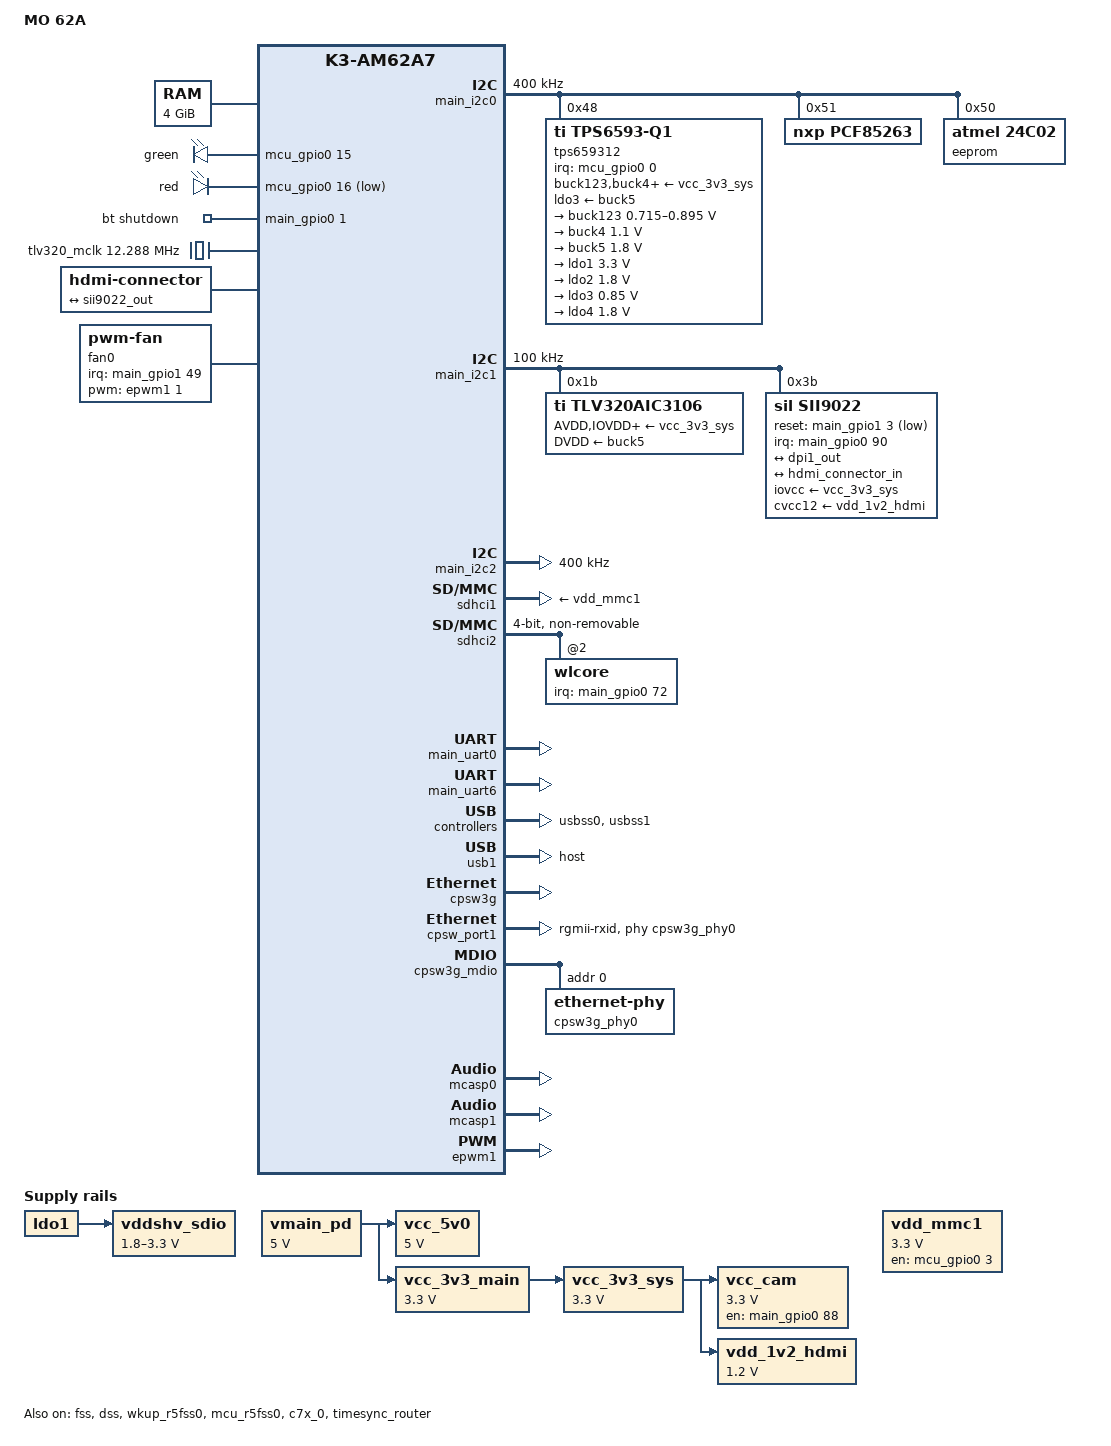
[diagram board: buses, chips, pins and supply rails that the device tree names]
// SPDX-License-Identifier: GPL-2.0-only OR MIT
/*
 * AM62A SK: https://www.ti.com/lit/zip/sprr459
 *
 * Copyright (C) 2022-2024 Texas Instruments Incorporated - https://www.ti.com/
 */

/dts-v1/;

#include <dt-bindings/leds/common.h>
#include <dt-bindings/gpio/gpio.h>
#include <dt-bindings/net/ti-dp83867.h>
#include "k3-am62a7.dtsi"

#include "k3-am62a7-mo-62a-pinmux.dtsi"

#include "k3-timesync-router.h"

/ {
	compatible = "ti,am62a7-sk", "ti,am62a7";
	model = "MO 62A";

	aliases {
		serial0 = &wkup_uart0;
		serial1 = &mcu_uart0;
		serial2 = &main_uart0;
		serial3 = &main_uart5;
		serial4 = &main_uart6;
		mmc1    = &sdhci1;
		mmc2    = &sdhci2;
		rtc0    = &pcf85263;
		rtc1    = &tps659312;
		ethernet0 = &cpsw_port1;
	};

	chosen {
		stdout-path = "serial2:115200n8";
	};

	memory@80000000 {
		device_type = "memory";
		/* 4G RAM */
		reg = <0x00000000 0x80000000 0x00000000 0x80000000>,
		      <0x00000008 0x80000000 0x00000000 0x80000000>;
	};

	reserved-memory {
		#address-cells = <2>;
		#size-cells = <2>;
		ranges;

		/* global cma region */
		linux,cma {
			compatible = "shared-dma-pool";
			reusable;
			size = <0x00 0x24000000>;
			alloc-ranges = <0x00 0xc0000000 0x00 0x24000000>;
			linux,cma-default;
		};

		c7x_0_dma_memory_region: c7x-dma-memory@99800000 {
			compatible = "shared-dma-pool";
			reg = <0x00 0x99800000 0x00 0x100000>;
			no-map;
		};

		c7x_0_memory_region: c7x-memory@99900000 {
			compatible = "shared-dma-pool";
			reg = <0x00 0x99900000 0x00 0x1f00000>;
			no-map;
		};

		mcu_r5fss0_core0_dma_memory_region: r5f-dma-memory@9b800000 {
			compatible = "shared-dma-pool";
			reg = <0x00 0x9b800000 0x00 0x100000>;
			no-map;
		};

		mcu_r5fss0_core0_memory_region: r5f-dma-memory@9b900000 {
			compatible = "shared-dma-pool";
			reg = <0x00 0x9b900000 0x00 0xf00000>;
			no-map;
		};

		wkup_r5fss0_core0_dma_memory_region: r5f-dma-memory@9c800000 {
			compatible = "shared-dma-pool";
			reg = <0x00 0x9c800000 0x00 0x100000>;
			no-map;
		};

		wkup_r5fss0_core0_memory_region: r5f-dma-memory@9c900000 {
			compatible = "shared-dma-pool";
			reg = <0x00 0x9c900000 0x00 0x1e00000>;
			no-map;
		};

		secure_tfa_ddr: tfa@9e780000 {
			reg = <0x00 0x9e780000 0x00 0x80000>;
			alignment = <0x1000>;
			no-map;
		};

		secure_ddr: optee@9e800000 {
			reg = <0x00 0x9e800000 0x00 0x01800000>; /* for OP-TEE */
			alignment = <0x1000>;
			no-map;
		};

		rtos_ipc_memory_region: ipc-memories@a0000000 {
			compatible = "shared-dma-pool";
			reg = <0x00 0xa0000000 0x00 0x01000000>;
			no-map;
		};

		/*
		 * EdgeAI/TIDL carveouts (merged from TI edgeai overlay .dtso)
		 *
		 * NOTE:
		 * - This region layout intentionally ends at 0xc0000000 to avoid
		 *   colliding with the CMA alloc-ranges used by display/video pipelines.
		 */
		edgeai_memory_region: edgeai-dma-memory@a1000000 {
			compatible = "shared-dma-pool";
			reg = <0x00 0xa1000000 0x00 0x02000000>;
			no-map;
		};

		edgeai_shared_region: edgeai_shared-memories {
			compatible = "dma-heap-carveout";
			reg = <0x00 0xa3000000 0x00 0x0ac00000>;
		};

		edgeai_core_heaps: edgeai-core-heap-memory@adc00000 {
			compatible = "shared-dma-pool";
			reg = <0x00 0xadc00000 0x00 0x12400000>;
			no-map;
		};
	};

	opp-table {
		/* Requires VDD_CORE at 0v85 */
		opp-1400000000 {
			opp-hz = /bits/ 64 <1400000000>;
			opp-supported-hw = <0x01 0x0004>;
			clock-latency-ns = <6000000>;
		};
	};

	vmain_pd: regulator-0 {
		compatible = "regulator-fixed";
		regulator-name = "vmain_pd";
		regulator-min-microvolt = <5000000>;
		regulator-max-microvolt = <5000000>;
		regulator-always-on;
		regulator-boot-on;
	};

	vcc_5v0: regulator-1 {
		compatible = "regulator-fixed";
		regulator-name = "vcc_5v0";
		regulator-min-microvolt = <5000000>;
		regulator-max-microvolt = <5000000>;
		vin-supply = <&vmain_pd>;
		regulator-always-on;
		regulator-boot-on;
	};

	vcc_3v3_main: regulator-2 {
		compatible = "regulator-fixed";
		regulator-name = "vcc_3v3_main";
		regulator-min-microvolt = <3300000>;
		regulator-max-microvolt = <3300000>;
		vin-supply = <&vmain_pd>;
		regulator-always-on;
		regulator-boot-on;
	};

	vdd_mmc1: regulator-3 {
		compatible = "regulator-fixed";
		regulator-name = "vdd_mmc1";
		pinctrl-names = "default";
		pinctrl-0 = <&vdd_mmc1_pins_default>;
		regulator-min-microvolt = <3300000>;
		regulator-max-microvolt = <3300000>;
		regulator-boot-on;
		enable-active-high;
		gpio = <&mcu_gpio0 3 GPIO_ACTIVE_HIGH>;
	};

	vcc_3v3_sys: regulator-4 {
		compatible = "regulator-fixed";
		regulator-name = "vcc_3v3_sys";
		regulator-min-microvolt = <3300000>;
		regulator-max-microvolt = <3300000>;
		vin-supply = <&vcc_3v3_main>;
		regulator-always-on;
		regulator-boot-on;
	};

	vddshv_sdio: regulator-5 {
		compatible = "regulator-gpio";
		regulator-name = "vddshv_sdio";
		pinctrl-names = "default";
		pinctrl-0 = <&vddshv_sdio_pins_default>;
		regulator-min-microvolt = <1800000>;
		regulator-max-microvolt = <3300000>;
		regulator-boot-on;
		vin-supply = <&ldo1>;
		gpios = <&main_gpio0 31 GPIO_ACTIVE_HIGH>;
		states = <1800000 0x0>,
			 <3300000 0x1>;
	};

	vcc_cam: regulator-6 {
		compatible = "regulator-fixed";
		regulator-name = "vcc_cam_3v3";
		regulator-min-microvolt = <3300000>;
		regulator-max-microvolt = <3300000>;
		gpio = <&main_gpio0 88 GPIO_ACTIVE_HIGH>;
		enable-active-high;
		startup-delay-us = <20000>;
		vin-supply = <&vcc_3v3_sys>;
		regulator-always-on;
	};

	/* VDD_1V2: fixed 1.2 V rail for SiI9022ACNU CVCC (TLV75512PDQN, U8).
	 * Always-on; enabled by the 2.5 V supply power-good signal at boot. */
	vdd_1v2_hdmi: regulator-7 {
		compatible = "regulator-fixed";
		regulator-name = "vdd_1v2_hdmi";
		regulator-min-microvolt = <1200000>;
		regulator-max-microvolt = <1200000>;
		vin-supply = <&vcc_3v3_sys>;
		regulator-always-on;
		regulator-boot-on;
	};

	leds {
		compatible = "gpio-leds";
		pinctrl-names = "default";
		pinctrl-0 = <&usr_led_pins_default>;

		led-green {
			label = "green";
			gpios = <&mcu_gpio0 15 GPIO_ACTIVE_HIGH>;
			default-state = "off";
		};

		led-red {
			label = "red";
			gpios = <&mcu_gpio0 16 GPIO_ACTIVE_LOW>;
			default-state = "on";
		};
	};

	bt: rfkill-bt {
		compatible = "rfkill-gpio";
		label = "bt";
		radio-type = "bluetooth";
		shutdown-gpios = <&main_gpio0 1 GPIO_ACTIVE_HIGH>;
		pinctrl-names = "default";
		pinctrl-0 = <&bt_en_pins_default>;
	};

	tlv320_mclk: clk-0 {
		#clock-cells = <0>;
		compatible = "fixed-clock";
		clock-frequency = <12288000>;
	};

	hdmi0: connector-hdmi {
		compatible = "hdmi-connector";
		label = "hdmi";
		type = "a";

		port {
			hdmi_connector_in: endpoint {
				remote-endpoint = <&sii9022_out>;
			};
		};
	};

	codec_audio: sound {
		compatible = "simple-audio-card";
		simple-audio-card,name = "AM62Ax-SKEVM";
		simple-audio-card,widgets =
			"Headphone",	"Headphone Jack",
			"Line",		"Line In",
			"Microphone",	"Microphone Jack";
		simple-audio-card,routing =
			"Headphone Jack",	"HPLOUT",
			"Headphone Jack",	"HPROUT",
			"LINE1L",		"Line In",
			"LINE1R",		"Line In",
			"MIC3R",		"Microphone Jack",
			"Microphone Jack",	"Mic Bias";
		simple-audio-card,format = "dsp_b";
		simple-audio-card,bitclock-master = <&sound_master>;
		simple-audio-card,frame-master = <&sound_master>;
		simple-audio-card,bitclock-inversion;

		simple-audio-card,cpu {
			sound-dai = <&mcasp1>;
		};

		sound_master: simple-audio-card,codec {
			sound-dai = <&tlv320aic3106>;
			clocks = <&tlv320_mclk>;
		};
	};

	hdmi_audio: sound-hdmi {
		compatible = "simple-audio-card";
		simple-audio-card,name = "HDMI";
		status = "okay";
		simple-audio-card,format = "i2s";
		simple-audio-card,bitclock-master = <&hdmi_audio_master>;
		simple-audio-card,frame-master = <&hdmi_audio_master>;
		playback-only;

		hdmi_audio_master: simple-audio-card,cpu {
			sound-dai = <&mcasp0>;
			system-clock-direction-out;
			system-clock-frequency = <24576000>;
		};

		simple-audio-card,codec {
			sound-dai = <&sii9022>;
		};
	};

	fan0: pwm-fan {
		compatible = "pwm-fan";
		/* EHRPWM1_B (B20/IO1_10) -> TXB0104 -> J6 FAN_PWM (5V) */
		pwms = <&epwm1 1 40000 0>; /* channel 1 = EHRPWM1_B, 25 kHz */
		#cooling-cells = <2>;
		cooling-min-state = <0>;
		cooling-max-state = <3>;
		cooling-levels = <0 64 128 255>;
		/* D18/GPIO1_49 <- TXB0104 <- J6 FAN_TACH (5V) */
		interrupt-parent = <&main_gpio1>;
		interrupts = <49 IRQ_TYPE_EDGE_BOTH>;
		pulses-per-revolution = <2>;
		pinctrl-names = "default";
		pinctrl-0 = <&fan_tach_pins_default>;
	};
};

/* WKUP UART0 is used for DM firmware logs */
&wkup_uart0 {
	pinctrl-names = "default";
	pinctrl-0 = <&wkup_uart0_pins_default>;
	status = "reserved";
};

&mcu_gpio0 {
	status = "okay";
	pinctrl-names = "default";
	pinctrl-0 = <&mcu_gpio0_pins_default>;
};

&main_i2c0 {
	status = "okay";
	pinctrl-names = "default";
	pinctrl-0 = <&main_i2c0_pins_default>;
	clock-frequency = <400000>;

	tps659312: pmic@48 {
		compatible = "ti,tps6593-q1";
		reg = <0x48>;
		ti,primary-pmic;
		system-power-controller;

		gpio-controller;
		#gpio-cells = <2>;

		pinctrl-names = "default";
		pinctrl-0 = <&pmic_irq_pins_default>;
		interrupt-parent = <&mcu_gpio0>;
		interrupts = <0 IRQ_TYPE_EDGE_FALLING>;

		buck123-supply = <&vcc_3v3_sys>;
		buck4-supply = <&vcc_3v3_sys>;
		buck5-supply = <&vcc_3v3_sys>;
		ldo1-supply = <&vcc_3v3_sys>;
		ldo2-supply = <&vcc_3v3_sys>;
		ldo3-supply = <&buck5>;
		ldo4-supply = <&vcc_3v3_sys>;

		regulators {
			buck123: buck123 {
				regulator-name = "vcc_core";
				regulator-min-microvolt = <715000>;
				regulator-max-microvolt = <895000>;
				regulator-boot-on;
				regulator-always-on;
			};

			buck4: buck4 {
				regulator-name = "vcc_1v1";
				regulator-min-microvolt = <1100000>;
				regulator-max-microvolt = <1100000>;
				regulator-boot-on;
				regulator-always-on;
			};

			buck5: buck5 {
				regulator-name = "vcc_1v8_sys";
				regulator-min-microvolt = <1800000>;
				regulator-max-microvolt = <1800000>;
				regulator-boot-on;
				regulator-always-on;
			};

			ldo1: ldo1 {
				regulator-name = "vddshv5_sdio";
				regulator-min-microvolt = <3300000>;
				regulator-max-microvolt = <3300000>;
				regulator-boot-on;
				regulator-always-on;
			};

			ldo2: ldo2 {
				regulator-name = "vpp_1v8";
				regulator-min-microvolt = <1800000>;
				regulator-max-microvolt = <1800000>;
				regulator-boot-on;
				regulator-always-on;
			};

			ldo3: ldo3 {
				regulator-name = "vcc_0v85";
				regulator-min-microvolt = <850000>;
				regulator-max-microvolt = <850000>;
				regulator-boot-on;
				regulator-always-on;
			};

			ldo4: ldo4 {
				regulator-name = "vdda_1v8";
				regulator-min-microvolt = <1800000>;
				regulator-max-microvolt = <1800000>;
				regulator-boot-on;
				regulator-always-on;
			};
		};
	};

	pcf85263: rtc@51 {
		compatible = "nxp,pcf85263";
		reg = <0x51>;
	};

	/* On-board BL24C02 EEPROM (2 Kbit / 256 B), 24c02-compatible.
	 * Bound by the at24 driver -> /sys/bus/i2c/devices/0-0050/eeprom. */
	eeprom@50 {
		compatible = "atmel,24c02";
		reg = <0x50>;
		pagesize = <8>;
	};
};

&main_i2c1 {
	status = "okay";
	pinctrl-names = "default";
	pinctrl-0 = <&main_i2c1_pins_default>;
	clock-frequency = <100000>;

	tlv320aic3106: audio-codec@1b {
		#sound-dai-cells = <0>;
		compatible = "ti,tlv320aic3106";
		reg = <0x1b>;
		ai3x-micbias-vg = <1>;	/* 2.0V */

		/* Regulators */
		AVDD-supply = <&vcc_3v3_sys>;
		IOVDD-supply = <&vcc_3v3_sys>;
		DRVDD-supply = <&vcc_3v3_sys>;
		DVDD-supply = <&buck5>;
	};

	sii9022: bridge-hdmi@3b {
		compatible = "sil,sii9022";
		reg = <0x3b>;
		pinctrl-names = "default";
		pinctrl-0 = <&gpio0_pins_default &sii9022_reset_pins>;
		interrupt-parent = <&main_gpio0>;
		interrupts = <90 IRQ_TYPE_EDGE_FALLING>;
		reset-gpios = <&main_gpio1 3 GPIO_ACTIVE_LOW>;
		#sound-dai-cells = <0>;
		sil,i2s-data-lanes = < 0 >;
		iovcc-supply = <&vcc_3v3_sys>;
		cvcc12-supply = <&vdd_1v2_hdmi>;

		ports {
			#address-cells = <1>;
			#size-cells = <0>;

			port@0 {
				reg = <0>;

				sii9022_in: endpoint {
					remote-endpoint = <&dpi1_out>;
				};
			};

			port@1 {
				reg = <1>;

				sii9022_out: endpoint {
					remote-endpoint = <&hdmi_connector_in>;
				};
			};
		};
	};
};

/* IMX219 sensor is enabled via k3-am62a7-mo-62a-cam-imx219.dtbo.
 * main_i2c2 must remain enabled here because the camera overlay does not
 * re-enable the bus itself; it only adds the sensor node under &main_i2c2.
 * Pads M20/M22 (40-pin Pin27/Pin28) are reserved for I2C2_SCL/SDA. */
&main_i2c2 {
	status = "okay";
	pinctrl-names = "default";
	pinctrl-0 = <&main_i2c2_pins_default>;
	clock-frequency = <400000>;
};

&sdhci0 {
	status = "disabled";
};

&sdhci1 {
	/* SD/MMC */
	status = "okay";
	vmmc-supply = <&vdd_mmc1>;
	vqmmc-supply = <&vddshv_sdio>;
	pinctrl-names = "default";
	pinctrl-0 = <&main_mmc1_pins_default>;
	disable-wp;
};

&sdhci2 {
	pinctrl-names = "default";
	pinctrl-0 = <&main_mmc2_pins_default>;
	bus-width = <4>;
	non-removable;
	ti,fails-without-test-cd;
	cap-power-off-card;
	keep-power-in-suspend;
	ti,driver-strength-ohm = <50>;
	#address-cells = <1>;
	#size-cells = <0>;
	status = "okay";

	wlcore: wlcore@2 {
		reg = <2>;
		pinctrl-names = "default";
		pinctrl-0 = <&wlan_irq_pins_default>;
		interrupt-parent = <&main_gpio0>;
		interrupts = <72 IRQ_TYPE_EDGE_FALLING>;
	};
};

&main_gpio0 {
	status = "okay";
};

&main_gpio1 {
	status = "okay";
	pinctrl-names = "default";
	pinctrl-0 = <&gpio1_pins_default>;
};

&main_gpio_intr {
	status = "okay";
};

&main_uart0 {
	status = "okay";
	pinctrl-names = "default";
	pinctrl-0 = <&main_uart0_pins_default>;
	interrupts-extended = <&gic500 GIC_SPI 178 IRQ_TYPE_LEVEL_HIGH>,
			<&main_pmx0 0x1c8>; /* (D14) UART0_RXD PADCONFIG114 */
	interrupt-names = "irq", "wakeup";
};

/* Pins 8,10: UART5 disabled — pads default to GPIO1_24/GPIO1_25 (BCM_GPIO14/15) */
&main_uart5 {
	status = "disabled";
};

&main_uart6 {
	status = "okay";
	pinctrl-names = "default";
	pinctrl-0 = <&main_uart6_pins_default>;
};

/* Main UART1 is used for TIFS firmware logs */
&main_uart1 {
	status = "disabled";
};

/* main_timer2 is used by C7x DSP */
&main_timer2 {
	status = "reserved";
};

/* main_timer7: FAN_TACH input is captured via GPIO1_49 interrupt, timer not needed */
&main_timer7 {
	status = "disabled";
};

&usbss0 {
	status = "okay";
	ti,vbus-divider;
};

&usb0 {
	usb-role-switch;
};

&usbss1 {
	status = "okay";
};

&usb1 {
	dr_mode = "host";
	pinctrl-names = "default";
	pinctrl-0 = <&main_usb1_pins_default>;
};

&cpsw3g {
	status = "okay";
	pinctrl-names = "default";
	pinctrl-0 = <&main_rgmii1_pins_default>;

	cpts@3d000 {
		/* MAP HW3_TS_PUSH to GENF1 */
		ti,pps = <2 1>;
	};
};

&cpsw_port1 {
	status = "okay";
	phy-mode = "rgmii-rxid";
	phy-handle = <&cpsw3g_phy0>;
};

&cpsw_port2 {
	status = "disabled";
};

&cpsw3g_mdio {
	status = "okay";
	pinctrl-names = "default";
	pinctrl-0 = <&main_mdio0_pins_default>;

	cpsw3g_phy0: ethernet-phy@0 {
		reg = <0>;
		ti,rx-internal-delay = <DP83867_RGMIIDCTL_2_00_NS>;
		ti,fifo-depth = <DP83867_PHYCR_FIFO_DEPTH_4_B_NIB>;
		ti,min-output-impedance;
	};
};

&fss {
	status = "okay";
};

&ospi0 {
	status = "disabled";
};

&mcasp0 {
	status = "okay";
	#sound-dai-cells = <0>;

	pinctrl-names = "default";
	pinctrl-0 = <&main_mcasp0_pins_default>;

	/*
	 * AM62A manual section 6.6 specifies 24.576 MHz as the standard audio
	 * clock for the 48 kHz family. The TISCI SysFW default is ~24.615 MHz
	 * (~1601 PPM off), which is within acceptable range for HDMI audio.
	 *
	 * system-clock-frequency = <24576000> in the CPU DAI node tells the
	 * simple-card driver to pass 24.576 MHz to set_sysclk, which the McASP
	 * driver uses for BCLK divider calculation:
	 *   48 kHz S16_LE: div=16 (single-stage, 0 PPM nominal)
	 *   48 kHz S32_LE: div=8  (single-stage, 0 PPM nominal)
	 * 44.1 kHz is correctly rejected (requires ~22.579 MHz clock).
	 */
	assigned-clocks = <&k3_clks 190 0>;
	assigned-clock-rates = <24576000>;

	op-mode = <0>;		/* MCASP_IIS_MODE */
	tdm-slots = <2>;

	serial-dir = <		/* 0: INACTIVE, 1: TX, 2: RX */
		0 0 1 0		/* AXR0=inactive, AXR1=inactive, AXR2=TX (→SiI9022), AXR3=inactive */
		0 0 0 0
		0 0 0 0
		0 0 0 0
	>;
	tx-num-evt = <32>;
	rx-num-evt = <8>;
};

&mcasp1 {
	status = "okay";
	#sound-dai-cells = <0>;

	pinctrl-names = "default";
	pinctrl-0 = <&main_mcasp1_pins_default>;

	op-mode = <0>;          /* MCASP_IIS_MODE */
	tdm-slots = <2>;

	serial-dir = <  /* 0: INACTIVE, 1: TX, 2: RX */
	       1 0 2 0
	       0 0 0 0
	       0 0 0 0
	       0 0 0 0
	>;
};

&dss {
	status = "okay";
	pinctrl-names = "default";
	pinctrl-0 = <&main_dss0_pins_default>;
};

&dss_ports {
	/* VP2: DPI Output */
	hdmi0_dss: port@1 {
		reg = <1>;

		dpi1_out: endpoint {
			remote-endpoint = <&sii9022_in>;
		};
	};
};

/*
 * Keep the AM62A reference DTS polling path for VDEC (wave521c).
 * The AM62P SPI 225 mapping does not signal on this board and makes sequence
 * initialization wait for an interrupt until it times out. The wave5 driver
 * already supports polling when no interrupt resource is supplied.
 */
&vpu {
	/delete-property/ interrupts;

	operating-points-v2 = <&vpu_opp_table>;
	vpu_opp_table: opp-table {
		compatible = "operating-points-v2";

		opp-20000000 {
			opp-hz = /bits/ 64 <20000000>;
		};

		opp-100000000 {
			opp-hz = /bits/ 64 <100000000>;
		};

		opp-200000000 {
			opp-hz = /bits/ 64 <200000000>;
		};

		opp-400000000 {
			opp-hz = /bits/ 64 <400000000>;
		};

		opp-500000000 {
			opp-hz = /bits/ 64 <500000000>;
		};
	};
};

&mailbox0_cluster0 {
	ti,mbox-num-fifos = <2>;
	mbox_r5_0: mbox-r5-0 {
		ti,mbox-rx = <0 0 0>;
		ti,mbox-tx = <1 0 0>;
	};
};

&mailbox0_cluster1 {
	ti,mbox-num-fifos = <2>;
	mbox_c7x_0: mbox-c7x-0 {
		ti,mbox-rx = <0 0 0>;
		ti,mbox-tx = <1 0 0>;
	};
};

&mailbox0_cluster2 {
	ti,mbox-num-fifos = <2>;
	mbox_mcu_r5_0: mbox-mcu-r5-0 {
		ti,mbox-rx = <0 0 0>;
		ti,mbox-tx = <1 0 0>;
	};
};

/* cluster3 is not used on AM62A7 (no second C7x or additional R5F) */
&mailbox0_cluster3 {
	status = "disabled";
};

&wkup_r5fss0 {
	status = "okay";
};

&wkup_r5fss0_core0 {
	mboxes = <&mailbox0_cluster0>, <&mbox_r5_0>;
	memory-region = <&wkup_r5fss0_core0_dma_memory_region>,
			<&wkup_r5fss0_core0_memory_region>;
};

&mcu_r5fss0 {
	status = "okay";
};

&mcu_r5fss0_core0 {
	mboxes = <&mailbox0_cluster2>, <&mbox_mcu_r5_0>;
	memory-region = <&mcu_r5fss0_core0_dma_memory_region>,
			<&mcu_r5fss0_core0_memory_region>;
};

&c7x_0 {
	mboxes = <&mailbox0_cluster1>, <&mbox_c7x_0>;
	memory-region = <&c7x_0_dma_memory_region>,
			<&c7x_0_memory_region>;
	status = "okay";
};

/* main_rti4 is used by C7x DSP */
&main_rti4 {
	status = "reserved";
};

&timesync_router {
	/* Use Time Sync Router to map GENF1 input to HW3_TS_PUSH output */
	mux-reg-masks-state = <
		/* pps [cpsw cpts genf1] in17 -> out12 [cpsw cpts hw3_push] */
		K3_TS_OFFSET(12, 0x0001ffff, 17)
		>;
	status = "okay";
};

/* CSI2 capture pipeline disabled by default; re-enabled by camera overlays
 * (e.g. k3-am62a7-mo-62a-cam-imx219.dtbo) when a sensor is attached. */
&cdns_csi2rx0 {
	status = "disabled";
};

&ti_csi2rx0 {
	status = "disabled";
};

&dphy0 {
	status = "disabled";
};

/* ── 40-pin expansion header peripherals ───────────────────────────────── */
/*
 * All expansion header pins default to GPIO mode.
 * Enable the relevant peripheral node (and its pinctrl) to use the
 * alternate function; the pinctrl subsystem will reclaim the pads.
 *
 *   Pins  3, 5: WKUP_I2C0  → MCU_GPIO0_19/20  (BCM GPIO3/2)
 *   Pins  8,10: UART5      → GPIO1_24/25       (BCM GPIO14/15)
 *   Pins 19,21,23,24,26: SPI0 → GPIO1_18/19/17/15/16 (BCM GPIO10/9/11/8/7)
 *   Pins 32,33: EHRPWM0   → GPIO1_13/14       (BCM GPIO13/12)
 *   Pin  36:    EHRPWM1_A → GPIO1_9            (BCM GPIO16)
 *   Pins 27,28: main_i2c2 — reserved for camera I2C bus, not available as GPIO
 */

/* Pins 3,5: WKUP_I2C0 disabled — pads default to MCU_GPIO0_19/20 (BCM_GPIO3/2) */
&wkup_i2c0 {
	status = "disabled";
};

/* Pins 19,21,23,24,26: SPI0 disabled — pads default to GPIO1_15–19 (BCM_GPIO7–11) */
&main_spi0 {
	status = "disabled";
};

/* Pins 32,33: EHRPWM0 disabled — pads default to GPIO1_13/14 (BCM_GPIO13/12) */
&epwm0 {
	status = "disabled";
};

/* EHRPWM1_B (B20/IO1_10) -> FAN_PWM; Pin 36 EHRPWM1_A stays as GPIO1_9 */
&epwm1 {
	status = "okay";
	pinctrl-names = "default";
	pinctrl-0 = <&fan_pwm_pins_default>;
};
